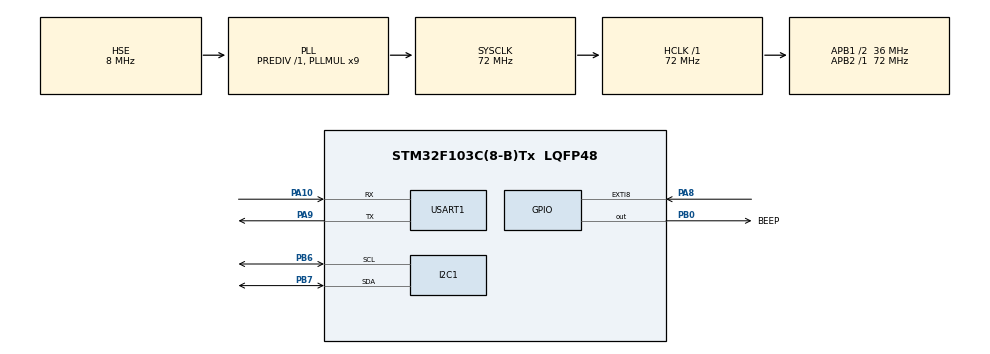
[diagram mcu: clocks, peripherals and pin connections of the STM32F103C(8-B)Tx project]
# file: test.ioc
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Mcu.Family=STM32F1
Mcu.Name=STM32F103C(8-B)Tx
Mcu.Package=LQFP48
NVIC.EXTI9_5_IRQn=true\:1\:0\:true\:false\:true\:true\:true\:true
NVIC.PriorityGroup=NVIC_PRIORITYGROUP_4
NVIC.USART1_IRQn=true\:2\:0\:true\:false\:true\:true\:true\:true
PA10.Mode=Asynchronous
PA10.Signal=USART1_RX
PA13.Mode=Serial_Wire
PA13.Signal=SYS_JTMS-SWDIO
PA14.Mode=Serial_Wire
PA14.Signal=SYS_JTCK-SWCLK
PA8.GPIO_ModeDefaultEXTI=GPIO_MODE_IT_FALLING
PA8.GPIO_PuPd=GPIO_PULLUP
PA8.Signal=GPXTI8
PA9.Mode=Asynchronous
PA9.Signal=USART1_TX
PB0.GPIO_Label=BEEP
PB0.Signal=GPIO_Output
PB6.Mode=I2C
PB6.Signal=I2C1_SCL
PB7.Mode=I2C
PB7.Signal=I2C1_SDA
PD0-OSC_IN.Mode=HSE-External-Oscillator
PD0-OSC_IN.Signal=RCC_OSC_IN
PD1-OSC_OUT.Mode=HSE-External-Oscillator
PD1-OSC_OUT.Signal=RCC_OSC_OUT
ProjectManager.HeapSize=0x200
ProjectManager.StackSize=0x400
ProjectManager.TargetToolchain=MDK-ARM V5.32
RCC.AHBFreq_Value=72000000
RCC.APB1CLKDivider=RCC_HCLK_DIV2
RCC.APB1Freq_Value=36000000
RCC.APB1TimFreq_Value=72000000
RCC.APB2Freq_Value=72000000
RCC.APB2TimFreq_Value=72000000
RCC.HCLKFreq_Value=72000000
RCC.PLLMUL=RCC_PLL_MUL9
RCC.PLLSourceVirtual=RCC_PLLSOURCE_HSE
RCC.SYSCLKFreq_VALUE=72000000
RCC.SYSCLKSource=RCC_SYSCLKSOURCE_PLLCLK
RCC.USBFreq_Value=72000000
TIM1.Prescaler=71
USART1.VirtualMode=VM_ASYNC
VP_TIM1_VS_ClockSourceINT.Mode=Internal
board=custom

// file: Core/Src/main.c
/* USER CODE BEGIN Header */
/**
  ******************************************************************************
  * @file           : main.c
  * @brief          : Main program body
  ******************************************************************************
  * @attention
  *
  * Copyright (c) 2024 STMicroelectronics.
  * All rights reserved.
  *
  * This software is licensed under terms that can be found in the LICENSE file
  * in the root directory of this software component.
  * If no LICENSE file comes with this software, it is provided AS-IS.
  *
  ******************************************************************************
  */
/* USER CODE END Header */
#include "main.h"
#include "i2c.h"
#include "tim.h"
#include "usart.h"
#include "gpio.h"

/* USER CODE BEGIN Includes */
#include "oled.h"
#include "oledd.h"
#include <stdio.h>
/* USER CODE END Includes */

/* USER CODE BEGIN PD */
#define wait 0    //等待状态
#define start 1   //开始状态
#define data_rx 2 //数据接收状态
/* USER CODE END PD */

/* USER CODE BEGIN PV */
uint8_t state=0;
uint8_t signal_repeat=0;
uint8_t signal_data_rx_over=0;
uint32_t count=0;
uint16_t pdata=0;
uint8_t ir_receive[4];
char expression[20] = {0};
uint8_t expr_len = 0;
int result = 0;
/* USER CODE END PV */

void SystemClock_Config(void);

/* USER CODE BEGIN 0 */
int fputc(int ch, FILE *p)
{
    // 使用 HAL 库函数发送字符数据到串口
    HAL_UART_Transmit(&huart1, (uint8_t *)&ch, 1, HAL_MAX_DELAY);

    // 返回输出的字符
    return ch;
}

void HAL_GPIO_EXTI_Callback(uint16_t GPIO_Pin)
{
	//判断外部中断源是否为GPIO_PIN_8
	if(GPIO_Pin == GPIO_PIN_8){
		switch(state){
		case wait://等待状态
			state = start;
			//检测到下降沿开始计时
			count_time_start();
			break;
		case start://起始信号和重复信息阶段
			//读取间隔时间
			count = get_tim1_cnt();
			//停止计数
			count_time_stop();
			//判断是起始信号还是重复信号
			if(count >= 13500 - 500 && count <= 13500 + 500){
				//进入数据接收阶段
				state = data_rx;
				//为数据阶段计时
				count_time_start();
			}
			else if(count >= 11250 - 500 && count <= 11250 + 500){
				//反馈重复信号，重回空闲状态
				signal_repeat = 1;
				state = wait;
			}
			else state = wait;
			break;
		case data_rx://数据处理阶段
			//读取间隔时间
			count = get_tim1_cnt();
			//停止计数
			count_time_stop();
			//数据处理
			if((count >= 1140 - 500 && count <= 1140 + 500)){
				//写入0
				ir_receive[pdata/8] &= ~(1 <<(pdata%8));
			}
			else if((count >= 2250 - 500 && count <= 2250 + 500)){
				//写入1
				ir_receive[pdata/8] |= (1 <<(pdata%8));
			}else{
				//此分支应对处理接收到的不完全数据帧和下个信号衔接恰好被识别为start信号的情况
				state = wait;
			}
			pdata++;
			//继续接收下一位byte数据
			state = data_rx;
			//数据帧处理结束
			if(pdata == 32){
				//重置pdata为0
				pdata = 0;
				//利用数据协议的反码数据校验数据准确性
				if((ir_receive[0]=~ir_receive[2])&&(ir_receive[1]=~ir_receive[3])){
					signal_data_rx_over = 1;
				}
				//重回空闲状态
				state = wait;
			}
			//数据帧未结束，为下次下降沿计时
			else count_time_start();
			break;
		}
	}
}

/* USER CODE END 0 */

void display_expression() {
    OLED_Clear();
    OLED_ShowString(0, 0, (uint8_t*)expression, 12);
}

void calculate_result() {
    int operand1 = 0, operand2 = 0;
    char op = 0;
    sscanf(expression, "%d%c%d", &operand1, &op, &operand2);

    switch (op) {
        case '+': result = operand1 + operand2; break;
        case '-': result = operand1 - operand2; break;
        case '*': result = operand1 * operand2; break;
        case '/':
            if (operand2 == 0) {
                OLED_Clear();
           OLED_ShowString(0, 0, (uint8_t*)"ERR", 12);
							  for (int i = 0; i < 3; i++) {
                    HAL_GPIO_WritePin(BEEP_GPIO_Port, BEEP_Pin, GPIO_PIN_SET); // ?????
                    HAL_Delay(500); // ??500??
                    HAL_GPIO_WritePin(BEEP_GPIO_Port, BEEP_Pin, GPIO_PIN_RESET); // ?????
                    HAL_Delay(500); // ??500??
                }
                return;
            } else {
                result = operand1 / operand2;
            }
            break;
    }
  char result_str[30]; // ?????
    sprintf(result_str, "%s=%d", expression, result); // ?????????
    OLED_Clear(); // ?? OLED ??
    OLED_ShowString(0, 0, (uint8_t*)result_str, 12); // ???????
}

void process_input(uint8_t address) {
    switch(address) {
        case 0xf3: expression[expr_len++] = '1'; break;
        case 0xe7: expression[expr_len++] = '2'; break;
        case 0xa1: expression[expr_len++] = '3'; break;
        case 0xf7: expression[expr_len++] = '4'; break;
        case 0xe3: expression[expr_len++] = '5'; break;
        case 0xa5: expression[expr_len++] = '6'; break;
        case 0xbd: expression[expr_len++] = '7'; break;
        case 0xad: expression[expr_len++] = '8'; break;
        case 0xb5: expression[expr_len++] = '9'; break;
        case 0xe9: expression[expr_len++] = '0'; break;
        case 0xea: expression[expr_len++] = '-'; break;
        case 0xf6: expression[expr_len++] = '+'; break;
        case 0xe6: expression[expr_len++] = '*'; break;
        case 0xf2: expression[expr_len++] = '/'; break;
        case 0xbb: calculate_result(); expr_len = 0; return;
        case 0xba: memset(expression, 0, sizeof(expression)); expr_len = 0; OLED_Clear(); return;
        case 0xb9: if (expr_len > 0) expression[--expr_len] = 0; break;
    }
    display_expression();
}

int main(void)
{

  /* MCU Configuration--------------------------------------------------------*/

  /* Reset of all peripherals, Initializes the Flash interface and the Systick. */
  HAL_Init();

  /* Configure the system clock */
  SystemClock_Config();

  /* Initialize all configured peripherals */
  MX_GPIO_Init();
  MX_I2C1_Init();
  MX_USART1_UART_Init();
  MX_TIM1_Init();
  /* USER CODE BEGIN 2 */
  OLED_Init();
	OLED_Clear();
  /* USER CODE END 2 */

  /* Infinite loop */
  while (1)
  {

    /* USER CODE BEGIN 3 */
	  //对数据接收完成信号进行处理
  	  if(signal_data_rx_over == 1){
  		  //发送地址码和命令码
  		  Uart_Send_String(" address:%2x, command:%2x\r\n",ir_receive[0],ir_receive[2]);
  		     process_input(ir_receive[0]);
           signal_data_rx_over = 0;
  	  }

  }
  /* USER CODE END 3 */
}

void SystemClock_Config(void)
{
  RCC_OscInitTypeDef RCC_OscInitStruct = {0};
  RCC_ClkInitTypeDef RCC_ClkInitStruct = {0};

  /** Initializes the RCC Oscillators according to the specified parameters
  * in the RCC_OscInitTypeDef structure.
  */
  RCC_OscInitStruct.OscillatorType = RCC_OSCILLATORTYPE_HSE;
  RCC_OscInitStruct.HSEState = RCC_HSE_ON;
  RCC_OscInitStruct.HSEPredivValue = RCC_HSE_PREDIV_DIV1;
  RCC_OscInitStruct.HSIState = RCC_HSI_ON;
  RCC_OscInitStruct.PLL.PLLState = RCC_PLL_ON;
  RCC_OscInitStruct.PLL.PLLSource = RCC_PLLSOURCE_HSE;
  RCC_OscInitStruct.PLL.PLLMUL = RCC_PLL_MUL9;
  if (HAL_RCC_OscConfig(&RCC_OscInitStruct) != HAL_OK)
  {
    Error_Handler();
  }

  /** Initializes the CPU, AHB and APB buses clocks
  */
  RCC_ClkInitStruct.ClockType = RCC_CLOCKTYPE_HCLK|RCC_CLOCKTYPE_SYSCLK
                              |RCC_CLOCKTYPE_PCLK1|RCC_CLOCKTYPE_PCLK2;
  RCC_ClkInitStruct.SYSCLKSource = RCC_SYSCLKSOURCE_PLLCLK;
  RCC_ClkInitStruct.AHBCLKDivider = RCC_SYSCLK_DIV1;
  RCC_ClkInitStruct.APB1CLKDivider = RCC_HCLK_DIV2;
  RCC_ClkInitStruct.APB2CLKDivider = RCC_HCLK_DIV1;

  if (HAL_RCC_ClockConfig(&RCC_ClkInitStruct, FLASH_LATENCY_2) != HAL_OK)
  {
    Error_Handler();
  }
}

void Error_Handler(void)
{
  __disable_irq();
  while (1)
  {
  }
}
